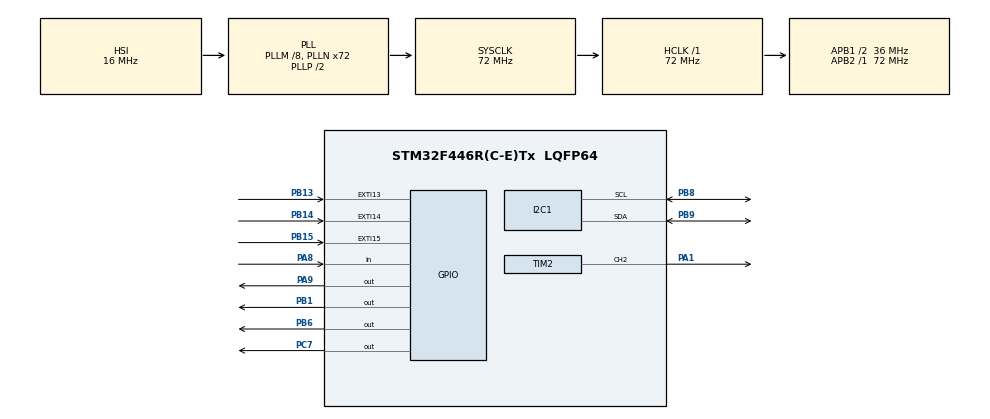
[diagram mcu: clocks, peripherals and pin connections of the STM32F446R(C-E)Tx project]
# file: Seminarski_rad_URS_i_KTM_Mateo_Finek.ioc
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Mcu.Family=STM32F4
Mcu.Name=STM32F446R(C-E)Tx
Mcu.Package=LQFP64
NVIC.EXTI15_10_IRQn=true\:3\:0\:true\:false\:true\:true\:true\:true
NVIC.PriorityGroup=NVIC_PRIORITYGROUP_4
NVIC.TIM6_DAC_IRQn=true\:3\:0\:true\:false\:true\:true\:true\:true
NVIC.TIM7_IRQn=true\:3\:0\:true\:false\:true\:true\:true\:true
PA1.Signal=S_TIM2_CH2
PA13.Mode=Serial_Wire
PA13.Signal=SYS_JTMS-SWDIO
PA14.Mode=Serial_Wire
PA14.Signal=SYS_JTCK-SWCLK
PA8.Signal=GPIO_Input
PA9.Signal=GPIO_Output
PB1.Signal=GPIO_Output
PB13.GPIO_ModeDefaultEXTI=GPIO_MODE_IT_FALLING
PB13.GPIO_PuPd=GPIO_PULLUP
PB13.Signal=GPXTI13
PB14.GPIO_ModeDefaultEXTI=GPIO_MODE_IT_FALLING
PB14.GPIO_PuPd=GPIO_PULLUP
PB14.Signal=GPXTI14
PB15.GPIO_ModeDefaultEXTI=GPIO_MODE_IT_FALLING
PB15.GPIO_PuPd=GPIO_PULLUP
PB15.Signal=GPXTI15
PB6.Signal=GPIO_Output
PB8.Mode=I2C
PB8.Signal=I2C1_SCL
PB9.Mode=I2C
PB9.Signal=I2C1_SDA
PC7.Signal=GPIO_Output
ProjectManager.HeapSize=0x200
ProjectManager.StackSize=0x400
ProjectManager.TargetToolchain=STM32CubeIDE
RCC.AHBFreq_Value=72000000
RCC.APB1CLKDivider=RCC_HCLK_DIV2
RCC.APB1Freq_Value=36000000
RCC.APB1TimFreq_Value=72000000
RCC.APB2Freq_Value=72000000
RCC.APB2TimFreq_Value=72000000
RCC.CortexFreq_Value=72000000
RCC.HCLKFreq_Value=72000000
RCC.PLLM=8
RCC.PLLN=72
RCC.SYSCLKFreq_VALUE=72000000
RCC.SYSCLKSource=RCC_SYSCLKSOURCE_PLLCLK
RCC.USBFreq_Value=72000000
RCC.VCOOutputFreq_Value=144000000
SH.S_TIM2_CH2.0=TIM2_CH2,PWM Generation2 CH2
TIM1.Prescaler=71
TIM2.Channel-PWM\ Generation2\ CH2=TIM_CHANNEL_2
TIM2.Period=20
TIM2.Prescaler=127
TIM6.Period=499
TIM6.Prescaler=15999
TIM7.Period=9
TIM7.Prescaler=15999
VP_TIM1_VS_ClockSourceINT.Mode=Internal
VP_TIM2_VS_ClockSourceINT.Mode=Internal
VP_TIM6_VS_ClockSourceINT.Mode=Enable_Timer
VP_TIM7_VS_ClockSourceINT.Mode=Enable_Timer
board=custom

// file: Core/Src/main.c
/* USER CODE BEGIN Header */
/**
  ******************************************************************************
  * @file           : main.c
  * @brief          : Main program body
  ******************************************************************************
  * @attention
  *
  * Copyright (c) 2025 STMicroelectronics.
  * All rights reserved.
  *
  * This software is licensed under terms that can be found in the LICENSE file
  * in the root directory of this software component.
  * If no LICENSE file comes with this software, it is provided AS-IS.
  *
  ******************************************************************************
  */
/* USER CODE END Header */
#include "main.h"
#include "i2c.h"
#include "tim.h"
#include "gpio.h"
#include <stdio.h>
/* USER CODE BEGIN Includes */
#include "LCD_biblioteka.h"
/* USER CODE END Includes */

/* USER CODE BEGIN PV */

uint8_t TurnOff_On = 0;						// Nalazi se na GPIOB, PIN 13
uint8_t NumUdaljenost = 0;					// Nalazi se na GPIOB, PIN 14
uint8_t StupUdaljenost = 0;					// Nalazi se na GPIOB, PIN 15
static uint16_t global_gpio_pin = 0;

#define TRIG_PIN GPIO_PIN_1
#define TRIG_PORT GPIOB
#define ECHO_PIN GPIO_PIN_8
#define ECHO_PORT GPIOA
uint32_t pMillis;
uint32_t Value1 = 0;
uint32_t Value2 = 0;
uint16_t Distance  = 0;  // cm
char snum[5];
char strUdaljenost[20] = {0};
char strTekstNum[20] = {0};
int znak = 0b11111111;
uint8_t barGraf[8] = {
        0b11111,
		0b11111,
		0b11111,
		0b11111,
		0b11111,
		0b11111,
		0b11111,
		0b11111
};
/* USER CODE END PV */

void SystemClock_Config(void);
/* USER CODE BEGIN PFP */

void ledCrvena (void)
{
	__HAL_TIM_SET_AUTORELOAD(&htim6, 1299);
	HAL_TIM_Base_Start_IT(&htim6);
	HAL_GPIO_WritePin(GPIOC, GPIO_PIN_7, 0);
	HAL_GPIO_WritePin(GPIOA, GPIO_PIN_9, 0);
	// pistalica
	if(HAL_GPIO_ReadPin(GPIOB, GPIO_PIN_6)==1){
 	__HAL_TIM_SET_AUTORELOAD(&htim2, 300);
 	__HAL_TIM_SET_COMPARE(&htim2, TIM_CHANNEL_2, 10);
	}
	else{
	__HAL_TIM_SET_AUTORELOAD(&htim2, 0);
	__HAL_TIM_SET_COMPARE(&htim2, TIM_CHANNEL_2, 0);
	}

}
void ledZuta (void)
{
	__HAL_TIM_SET_AUTORELOAD(&htim6, 1999);
	HAL_TIM_Base_Start_IT(&htim6);
	HAL_GPIO_WritePin(GPIOB, GPIO_PIN_6, 0);
	HAL_GPIO_WritePin(GPIOA, GPIO_PIN_9, 0);
	// pistalica
 	if(HAL_GPIO_ReadPin(GPIOC, GPIO_PIN_7)==1){
 	 	__HAL_TIM_SET_AUTORELOAD(&htim2, 300);
 	 	__HAL_TIM_SET_COMPARE(&htim2, TIM_CHANNEL_2, 5);
 		}
 	else{
 		__HAL_TIM_SET_AUTORELOAD(&htim2, 0);
 		__HAL_TIM_SET_COMPARE(&htim2, TIM_CHANNEL_2, 0);
 		}

}
void ledZelena (void)
{
	__HAL_TIM_SET_AUTORELOAD(&htim6, 2999);
	HAL_TIM_Base_Start_IT(&htim6);
	HAL_GPIO_WritePin(GPIOB, GPIO_PIN_6, 0);
	HAL_GPIO_WritePin(GPIOC, GPIO_PIN_7, 0);
 	if(HAL_GPIO_ReadPin(GPIOA, GPIO_PIN_9)==1){
 	 	__HAL_TIM_SET_AUTORELOAD(&htim2, 300);
 	 	__HAL_TIM_SET_COMPARE(&htim2, TIM_CHANNEL_2, 3);
 		}
 	else{
 		__HAL_TIM_SET_AUTORELOAD(&htim2, 0);
 		__HAL_TIM_SET_COMPARE(&htim2, TIM_CHANNEL_2, 0);
 		}

}
void ledNula (void)
{
	HAL_GPIO_WritePin(GPIOB, GPIO_PIN_6, 0);
	HAL_GPIO_WritePin(GPIOC, GPIO_PIN_7, 0);
	HAL_GPIO_WritePin(GPIOA, GPIO_PIN_9, 0);
 	__HAL_TIM_SET_AUTORELOAD(&htim2, 0);
 	__HAL_TIM_SET_COMPARE(&htim2, TIM_CHANNEL_2, 0);

}
void signalizacijaNum (void){
    if(Distance<7){
    	LCD_Clear();
    	LCD_SetCursor(6,0);
    	LCD_PrintStr("POZOR");
    	LCD_SetCursor(6,1);
    	LCD_PrintStr("STOJ!");
    	ledCrvena();
    }
    else if(Distance<15){
    	LCD_Clear();
    	LCD_SetCursor(0,1);
    	LCD_PrintStr(strUdaljenost);
    	LCD_SetCursor(0,0);
    	LCD_PrintStr("Udaljenost");
    	ledZuta();
    }
    else if(Distance<30){
    	LCD_Clear();
    	LCD_SetCursor(0,1);
    	LCD_PrintStr(strUdaljenost);
    	LCD_SetCursor(0,0);
    	LCD_PrintStr("Udaljenost");
		ledZelena();
    }
    else{
    	LCD_Clear();
    	LCD_SetCursor(0,1);
    	LCD_PrintStr(strUdaljenost);
    	LCD_SetCursor(0,0);
    	LCD_PrintStr("Udaljenost");
    	ledNula();
    }
}

void signalizacijaBar (void){
    if(Distance<7){
    	LCD_Clear();
    	LCD_SetCursor(3,0);
    	LCD_PrintStr("UPOZORENJE");
    	LCD_SetCursor(0,1);
    	LCD_PrintSpecialChar(0xFF);
    	LCD_SetCursor(1,1);
    	LCD_PrintSpecialChar(0xFF);
    	LCD_SetCursor(2,1);
    	LCD_PrintSpecialChar(0xFF);
    	LCD_SetCursor(3,1);
    	LCD_PrintSpecialChar(0xFF);
    	LCD_SetCursor(4,1);
    	LCD_PrintSpecialChar(0xFF);
    	LCD_SetCursor(5,1);
    	LCD_PrintSpecialChar(0xFF);
    	LCD_SetCursor(6,1);
    	LCD_PrintSpecialChar(0xFF);
    	LCD_SetCursor(7,1);
    	LCD_PrintSpecialChar(0xFF);
    	LCD_SetCursor(8,1);
    	LCD_PrintSpecialChar(0xFF);
    	LCD_SetCursor(9,1);
    	LCD_PrintSpecialChar(0xFF);
    	LCD_SetCursor(10,1);
    	LCD_PrintSpecialChar(0xFF);
    	LCD_SetCursor(11,1);
    	LCD_PrintSpecialChar(0xFF);
    	LCD_SetCursor(12,1);
    	LCD_PrintSpecialChar(0xFF);
    	LCD_SetCursor(13,1);
    	LCD_PrintSpecialChar(0xFF);
    	LCD_SetCursor(14,1);
    	LCD_PrintSpecialChar(0xFF);
    	LCD_SetCursor(15,1);
    	LCD_PrintSpecialChar(0xFF);
    	ledCrvena();
    }
    else if(Distance<10 && Distance>=8){
    	LCD_Clear();
    	LCD_SetCursor(0,0);
    	LCD_PrintStr("Udaljenost stup:");
    	LCD_SetCursor(0,1);
    	LCD_PrintSpecialChar(0xFF);
    	LCD_SetCursor(1,1);
    	LCD_PrintSpecialChar(0xFF);
    	LCD_SetCursor(2,1);
    	LCD_PrintSpecialChar(0xFF);
    	LCD_SetCursor(3,1);
    	LCD_PrintSpecialChar(0xFF);
    	LCD_SetCursor(4,1);
    	LCD_PrintSpecialChar(0xFF);
    	LCD_SetCursor(5,1);
    	LCD_PrintSpecialChar(0xFF);
    	LCD_SetCursor(6,1);
    	LCD_PrintSpecialChar(0xFF);
    	LCD_SetCursor(7,1);
    	LCD_PrintSpecialChar(0xFF);
    	LCD_SetCursor(8,1);
    	LCD_PrintSpecialChar(0xFF);
    	LCD_SetCursor(9,1);
    	LCD_PrintSpecialChar(0xFF);
    	LCD_SetCursor(10,1);
    	LCD_PrintSpecialChar(0xFF);
    	LCD_SetCursor(11,1);
    	LCD_PrintSpecialChar(0xFF);
    	LCD_SetCursor(12,1);
    	LCD_PrintSpecialChar(0xFF);
		ledZuta();
    }
    else if(Distance<12 && Distance>=10){
    	LCD_Clear();
    	LCD_SetCursor(0,0);
    	LCD_PrintStr("Udaljenost stup:");
    	LCD_SetCursor(0,1);
    	LCD_PrintSpecialChar(0xFF);
    	LCD_SetCursor(1,1);
    	LCD_PrintSpecialChar(0xFF);
    	LCD_SetCursor(2,1);
    	LCD_PrintSpecialChar(0xFF);
    	LCD_SetCursor(3,1);
    	LCD_PrintSpecialChar(0xFF);
    	LCD_SetCursor(4,1);
    	LCD_PrintSpecialChar(0xFF);
    	LCD_SetCursor(5,1);
    	LCD_PrintSpecialChar(0xFF);
    	LCD_SetCursor(6,1);
    	LCD_PrintSpecialChar(0xFF);
    	LCD_SetCursor(7,1);
    	LCD_PrintSpecialChar(0xFF);
    	LCD_SetCursor(8,1);
    	LCD_PrintSpecialChar(0xFF);
    	LCD_SetCursor(9,1);
    	LCD_PrintSpecialChar(0xFF);
    	LCD_SetCursor(10,1);
    	LCD_PrintSpecialChar(0xFF);
    	LCD_SetCursor(11,1);
    	LCD_PrintSpecialChar(0xFF);
		ledZuta();
    }
    else if(Distance<14 && Distance>=12){
    	LCD_Clear();
    	LCD_SetCursor(0,0);
    	LCD_PrintStr("Udaljenost stup:");
    	LCD_SetCursor(0,1);
    	LCD_PrintSpecialChar(0xFF);
    	LCD_SetCursor(1,1);
    	LCD_PrintSpecialChar(0xFF);
    	LCD_SetCursor(2,1);
    	LCD_PrintSpecialChar(0xFF);
    	LCD_SetCursor(3,1);
    	LCD_PrintSpecialChar(0xFF);
    	LCD_SetCursor(4,1);
    	LCD_PrintSpecialChar(0xFF);
    	LCD_SetCursor(5,1);
    	LCD_PrintSpecialChar(0xFF);
    	LCD_SetCursor(6,1);
    	LCD_PrintSpecialChar(0xFF);
    	LCD_SetCursor(7,1);
    	LCD_PrintSpecialChar(0xFF);
    	LCD_SetCursor(8,1);
    	LCD_PrintSpecialChar(0xFF);
    	LCD_SetCursor(9,1);
    	LCD_PrintSpecialChar(0xFF);
    	LCD_SetCursor(10,1);
    	LCD_PrintSpecialChar(0xFF);
		ledZuta();
    }
    else if(Distance<16 && Distance>=14){
    	LCD_Clear();
    	LCD_SetCursor(0,0);
    	LCD_PrintStr("Udaljenost stup:");
    	LCD_SetCursor(0,1);
    	LCD_PrintSpecialChar(0xFF);
    	LCD_SetCursor(1,1);
    	LCD_PrintSpecialChar(0xFF);
    	LCD_SetCursor(2,1);
    	LCD_PrintSpecialChar(0xFF);
    	LCD_SetCursor(3,1);
    	LCD_PrintSpecialChar(0xFF);
    	LCD_SetCursor(4,1);
    	LCD_PrintSpecialChar(0xFF);
    	LCD_SetCursor(5,1);
    	LCD_PrintSpecialChar(0xFF);
    	LCD_SetCursor(6,1);
    	LCD_PrintSpecialChar(0xFF);
    	LCD_SetCursor(7,1);
    	LCD_PrintSpecialChar(0xFF);
    	LCD_SetCursor(8,1);
    	LCD_PrintSpecialChar(0xFF);
    	LCD_SetCursor(9,1);
    	LCD_PrintSpecialChar(0xFF);
		ledZuta();
    }
    else if(Distance<16 && Distance>=14){
    	LCD_Clear();
    	LCD_SetCursor(0,0);
    	LCD_PrintStr("Udaljenost stup:");
    	LCD_SetCursor(0,1);
    	LCD_PrintSpecialChar(0xFF);
    	LCD_SetCursor(1,1);
    	LCD_PrintSpecialChar(0xFF);
    	LCD_SetCursor(2,1);
    	LCD_PrintSpecialChar(0xFF);
    	LCD_SetCursor(3,1);
    	LCD_PrintSpecialChar(0xFF);
    	LCD_SetCursor(4,1);
    	LCD_PrintSpecialChar(0xFF);
    	LCD_SetCursor(5,1);
    	LCD_PrintSpecialChar(0xFF);
    	LCD_SetCursor(6,1);
    	LCD_PrintSpecialChar(0xFF);
    	LCD_SetCursor(7,1);
    	LCD_PrintSpecialChar(0xFF);
    	LCD_SetCursor(8,1);
    	LCD_PrintSpecialChar(0xFF);
		ledZuta();
    }
    else if(Distance<18 && Distance>=16){
    	LCD_Clear();
    	LCD_SetCursor(0,0);
    	LCD_PrintStr("Udaljenost stup:");
    	LCD_SetCursor(0,1);
    	LCD_PrintSpecialChar(0xFF);
    	LCD_SetCursor(1,1);
    	LCD_PrintSpecialChar(0xFF);
    	LCD_SetCursor(2,1);
    	LCD_PrintSpecialChar(0xFF);
    	LCD_SetCursor(3,1);
    	LCD_PrintSpecialChar(0xFF);
    	LCD_SetCursor(4,1);
    	LCD_PrintSpecialChar(0xFF);
    	LCD_SetCursor(5,1);
    	LCD_PrintSpecialChar(0xFF);
    	LCD_SetCursor(6,1);
    	LCD_PrintSpecialChar(0xFF);
    	LCD_SetCursor(7,1);
    	LCD_PrintSpecialChar(0xFF);
		ledZelena();
    }
    else if(Distance<20 && Distance>=18){
    	LCD_Clear();
    	LCD_SetCursor(0,0);
    	LCD_PrintStr("Udaljenost stup:");
    	LCD_SetCursor(0,1);
    	LCD_PrintSpecialChar(0xFF);
    	LCD_SetCursor(1,1);
    	LCD_PrintSpecialChar(0xFF);
    	LCD_SetCursor(2,1);
    	LCD_PrintSpecialChar(0xFF);
    	LCD_SetCursor(3,1);
    	LCD_PrintSpecialChar(0xFF);
    	LCD_SetCursor(4,1);
    	LCD_PrintSpecialChar(0xFF);
    	LCD_SetCursor(5,1);
    	LCD_PrintSpecialChar(0xFF);
    	LCD_SetCursor(6,1);
    	LCD_PrintSpecialChar(0xFF);
		ledZelena();
    }
    else if(Distance<22 && Distance>=20){
    	LCD_Clear();
    	LCD_SetCursor(0,0);
    	LCD_PrintStr("Udaljenost stup:");
    	LCD_SetCursor(0,1);
    	LCD_PrintSpecialChar(0xFF);
    	LCD_SetCursor(1,1);
    	LCD_PrintSpecialChar(0xFF);
    	LCD_SetCursor(2,1);
    	LCD_PrintSpecialChar(0xFF);
    	LCD_SetCursor(3,1);
    	LCD_PrintSpecialChar(0xFF);
    	LCD_SetCursor(4,1);
    	LCD_PrintSpecialChar(0xFF);
    	LCD_SetCursor(5,1);
    	LCD_PrintSpecialChar(0xFF);
		ledZelena();
    }
    else if(Distance<24 && Distance>=22){
    	LCD_Clear();
    	LCD_SetCursor(0,0);
    	LCD_PrintStr("Udaljenost stup:");
    	LCD_SetCursor(0,1);
    	LCD_PrintSpecialChar(0xFF);
    	LCD_SetCursor(1,1);
    	LCD_PrintSpecialChar(0xFF);
    	LCD_SetCursor(2,1);
    	LCD_PrintSpecialChar(0xFF);
    	LCD_SetCursor(3,1);
    	LCD_PrintSpecialChar(0xFF);
    	LCD_SetCursor(4,1);
    	LCD_PrintSpecialChar(0xFF);
		ledZelena();
    }
    else if(Distance<26 && Distance>=24){
    	LCD_Clear();
    	LCD_SetCursor(0,0);
    	LCD_PrintStr("Udaljenost stup:");
    	LCD_SetCursor(0,1);
    	LCD_PrintSpecialChar(0xFF);
    	LCD_SetCursor(1,1);
    	LCD_PrintSpecialChar(0xFF);
    	LCD_SetCursor(2,1);
    	LCD_PrintSpecialChar(0xFF);
    	LCD_SetCursor(3,1);
    	LCD_PrintSpecialChar(0xFF);
		ledZelena();
    }
    else if(Distance<28 && Distance>=26){
    	LCD_Clear();
    	LCD_SetCursor(0,0);
    	LCD_PrintStr("Udaljenost stup:");
    	LCD_SetCursor(0,1);
    	LCD_PrintSpecialChar(0xFF);
    	LCD_SetCursor(1,1);
    	LCD_PrintSpecialChar(0xFF);
    	LCD_SetCursor(2,1);
    	LCD_PrintSpecialChar(0xFF);
		ledZelena();
    }
    else if(Distance<30 && Distance>=28){
    	LCD_Clear();
    	LCD_SetCursor(0,0);
    	LCD_PrintStr("Udaljenost stup:");
    	LCD_SetCursor(0,1);
    	LCD_PrintSpecialChar(0xFF);
    	LCD_SetCursor(1,1);
    	LCD_PrintSpecialChar(0xFF);
		ledZelena();
    }
    else if(Distance<32 && Distance>=30){
    	LCD_Clear();
    	LCD_SetCursor(0,0);
    	LCD_PrintStr("Udaljenost stup:");
    	LCD_SetCursor(0,1);
    	LCD_PrintSpecialChar(0xFF);
		ledZelena();
    }
    else{
    	LCD_Clear();
    	LCD_SetCursor(0,0);
    	LCD_PrintStr("Udaljenost stup:");
    	ledNula();
    }
}

/* USER CODE END PFP */

int main(void)
{

  /* MCU Configuration--------------------------------------------------------*/

  /* Reset of all peripherals, Initializes the Flash interface and the Systick. */
  HAL_Init();

  /* Configure the system clock */
  SystemClock_Config();

  /* Initialize all configured peripherals */

  MX_GPIO_Init();
  MX_TIM1_Init();
  MX_TIM2_Init();
  MX_TIM6_Init();
  MX_TIM7_Init();
  MX_I2C1_Init();

  /* USER CODE BEGIN 2 */

  HAL_TIM_PWM_Start(&htim2, TIM_CHANNEL_2);

  LCD_Init(2);
  LCD_Clear();

  HAL_TIM_Base_Start(&htim1);
  HAL_GPIO_WritePin(TRIG_PORT, TRIG_PIN, GPIO_PIN_RESET);  // pull the TRIG pin low

  /* USER CODE END 2 */

  /* Infinite loop */
  while (1)
  {
	  if(TurnOff_On %2 == 1){

		  // Senzor pocinje mjeriti - pocetak naredbi za senzor

		  HAL_GPIO_WritePin(TRIG_PORT, TRIG_PIN, GPIO_PIN_SET);  // pull the TRIG pin HIGH
		  __HAL_TIM_SET_COUNTER(&htim1, 0);
		  while (__HAL_TIM_GET_COUNTER (&htim1) < 10);  // wait for 10 us
		  HAL_GPIO_WritePin(TRIG_PORT, TRIG_PIN, GPIO_PIN_RESET);  // pull the TRIG pin low

		  pMillis = HAL_GetTick(); // used this to avoid infinite while loop  (for timeout)
		  // wait for the echo pin to go high
		  while (!(HAL_GPIO_ReadPin (ECHO_PORT, ECHO_PIN)) && pMillis + 10 >  HAL_GetTick());
		  Value1 = __HAL_TIM_GET_COUNTER (&htim1);

		  pMillis = HAL_GetTick(); // used this to avoid infinite while loop (for timeout)
		  // wait for the echo pin to go low
		  while ((HAL_GPIO_ReadPin (ECHO_PORT, ECHO_PIN)) && pMillis + 50 > HAL_GetTick());
		  Value2 = __HAL_TIM_GET_COUNTER (&htim1);

		  Distance = (Value2-Value1)* 0.034/2;
		  HAL_Delay(50);

		  // Kraj naredbi za senzor

		  LCD_Clear();
		  if(NumUdaljenost == 0 && StupUdaljenost == 0){
			  LCD_SetCursor(0,0);
			  LCD_PrintStr("Senzor upaljen");
			  LCD_SetCursor(0,1);
			  LCD_PrintStr("Izaberite mod");
			  HAL_Delay(200);
		  }
		  else if(NumUdaljenost < StupUdaljenost){
			  signalizacijaBar();

		  }
		  else if(NumUdaljenost > StupUdaljenost){
			  sprintf(strUdaljenost,"%d cm",Distance);
			  signalizacijaNum();
		  }
	  }
	  else{
		  LCD_Clear();
		  LCD_SetCursor(0,0);
		  LCD_PrintStr("Upalite senzor!");
		  NumUdaljenost = 0;
		  StupUdaljenost = 0;
		  HAL_Delay(200);
	  }

  }
}

void SystemClock_Config(void)
{
  RCC_OscInitTypeDef RCC_OscInitStruct = {0};
  RCC_ClkInitTypeDef RCC_ClkInitStruct = {0};

  /** Configure the main internal regulator output voltage
  */
  __HAL_RCC_PWR_CLK_ENABLE();
  __HAL_PWR_VOLTAGESCALING_CONFIG(PWR_REGULATOR_VOLTAGE_SCALE3);

  /** Initializes the RCC Oscillators according to the specified parameters
  * in the RCC_OscInitTypeDef structure.
  */
  RCC_OscInitStruct.OscillatorType = RCC_OSCILLATORTYPE_HSI;
  RCC_OscInitStruct.HSIState = RCC_HSI_ON;
  RCC_OscInitStruct.HSICalibrationValue = RCC_HSICALIBRATION_DEFAULT;
  RCC_OscInitStruct.PLL.PLLState = RCC_PLL_ON;
  RCC_OscInitStruct.PLL.PLLSource = RCC_PLLSOURCE_HSI;
  RCC_OscInitStruct.PLL.PLLM = 8;
  RCC_OscInitStruct.PLL.PLLN = 72;
  RCC_OscInitStruct.PLL.PLLP = RCC_PLLP_DIV2;
  RCC_OscInitStruct.PLL.PLLQ = 2;
  RCC_OscInitStruct.PLL.PLLR = 2;
  if (HAL_RCC_OscConfig(&RCC_OscInitStruct) != HAL_OK)
  {
    Error_Handler();
  }

  /** Initializes the CPU, AHB and APB buses clocks
  */
  RCC_ClkInitStruct.ClockType = RCC_CLOCKTYPE_HCLK|RCC_CLOCKTYPE_SYSCLK
                              |RCC_CLOCKTYPE_PCLK1|RCC_CLOCKTYPE_PCLK2;
  RCC_ClkInitStruct.SYSCLKSource = RCC_SYSCLKSOURCE_PLLCLK;
  RCC_ClkInitStruct.AHBCLKDivider = RCC_SYSCLK_DIV1;
  RCC_ClkInitStruct.APB1CLKDivider = RCC_HCLK_DIV2;
  RCC_ClkInitStruct.APB2CLKDivider = RCC_HCLK_DIV1;

  if (HAL_RCC_ClockConfig(&RCC_ClkInitStruct, FLASH_LATENCY_2) != HAL_OK)
  {
    Error_Handler();
  }
}

/* USER CODE BEGIN 4 */
void HAL_GPIO_EXTI_Callback(uint16_t GPIO_Pin){
	global_gpio_pin = GPIO_Pin;
	if(global_gpio_pin == GPIO_PIN_13 || global_gpio_pin == GPIO_PIN_14 || global_gpio_pin == GPIO_PIN_15){
		__HAL_TIM_CLEAR_IT(&htim7, TIM_IT_UPDATE);
		HAL_TIM_Base_Start_IT(&htim7);
	}
}

void HAL_TIM_PeriodElapsedCallback(TIM_HandleTypeDef *htim){
	if(htim->Instance == TIM6){
		if(Distance<=7){
			HAL_GPIO_TogglePin(GPIOB, GPIO_PIN_6);
		}
		else if(Distance<15){
			HAL_GPIO_TogglePin(GPIOC, GPIO_PIN_7);
		}
		else if(Distance<30){
			HAL_GPIO_TogglePin(GPIOA, GPIO_PIN_9);
		}
		else{
			HAL_TIM_Base_Stop_IT(&htim6);
		}
	}

	if(htim->Instance == TIM7){
		if(HAL_GPIO_ReadPin(GPIOB, global_gpio_pin)==0){
			if(global_gpio_pin == GPIO_PIN_13){
				TurnOff_On++;
			}
			else if(global_gpio_pin == GPIO_PIN_14){
				NumUdaljenost++;
				StupUdaljenost = 0;
			}
			else if(global_gpio_pin == GPIO_PIN_15){
				StupUdaljenost++;
				NumUdaljenost = 0;
			}
			else{
				HAL_TIM_Base_Stop_IT(&htim7);
			}
		}
	}
}

/* USER CODE END 4 */

void Error_Handler(void)
{
  __disable_irq();
  while (1)
  {
  }
}
